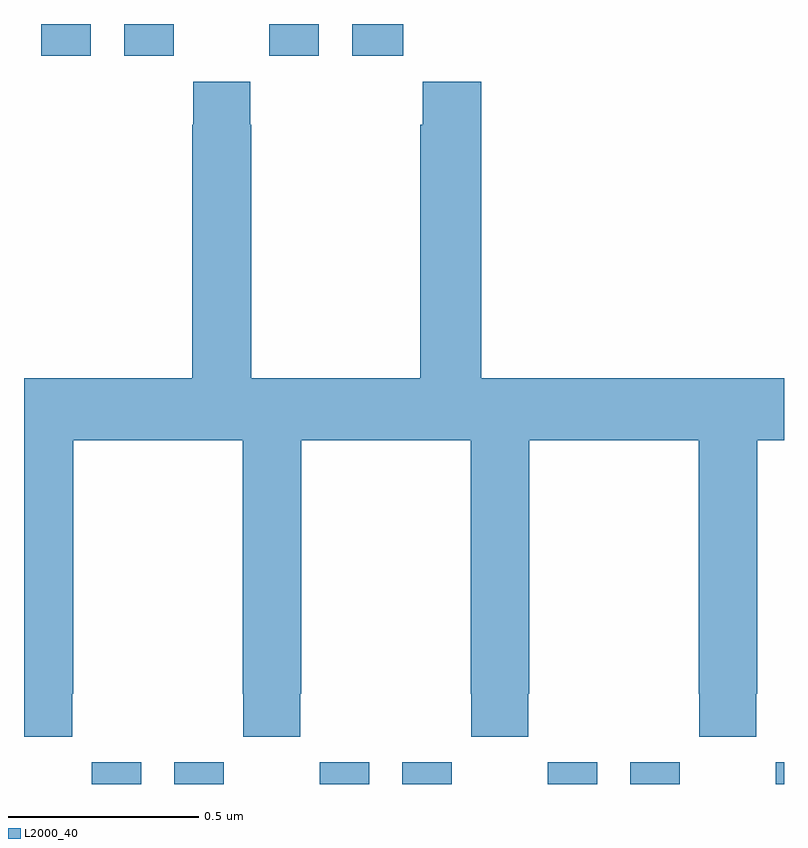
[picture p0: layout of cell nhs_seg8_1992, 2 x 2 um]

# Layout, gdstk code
import gdstk
lib = gdstk.Library(unit=1e-6, precision=1e-09)
def R(c, l, rs):  # rectangles x0, y0, x1, y1
    for r in rs: c.add(gdstk.rectangle(r[:2], r[2:], *l))
def P(c, l, *ps):  # polygons
    for p in ps: c.add(gdstk.Polygon(p, *l))
L2000_40 = (2000, 40)

nhs_seg8_1992 = lib.new_cell('nhs_seg8_1992')
R(nhs_seg8_1992, L2000_40, [(137.178,1144.9,137.308,1144.957), (137.396,1144.9,137.526,1144.957), (137.778,1144.9,137.908,1144.957), (137.996,1144.9,138.126,1144.957), (138.378,1144.9,138.508,1144.957), (138.596,1144.9,138.726,1144.957), (138.978,1144.9,139,1144.957), (137.046,1146.816,137.176,1146.9), (137.264,1146.816,137.394,1146.9), (137.646,1146.816,137.776,1146.9), (137.864,1146.816,137.998,1146.9)])
P(nhs_seg8_1992, L2000_40, [(137.127,1145.137),(137.13,1145.137),(137.13,1145.804),(137.575,1145.804),(137.575,1145.137),(137.577,1145.137),(137.577,1145.025),(137.727,1145.025),(137.727,1145.137),(137.73,1145.137),(137.73,1145.804),(138.175,1145.804),(138.175,1145.137),(138.177,1145.137),(138.177,1145.025),(138.327,1145.025),(138.327,1145.137),(138.33,1145.137),(138.33,1145.804),(138.775,1145.804),(138.775,1145.137),(138.777,1145.137),(138.777,1145.025),(138.927,1145.025),(138.927,1145.137),(138.93,1145.137),(138.93,1145.804),(139,1145.804),(139,1145.968),(138.203,1145.968),(138.203,1146.748),(138.049,1146.748),(138.049,1146.635),(138.043,1146.635),(138.043,1145.968),(137.598,1145.968),(137.598,1146.635),(137.595,1146.635),(137.595,1146.748),(137.445,1146.748),(137.445,1146.635),(137.443,1146.635),(137.443,1145.968),(137,1145.968),(137,1145.025),(137.127,1145.025)])

lib.write_gds('nhs_seg8_1992.gds')
